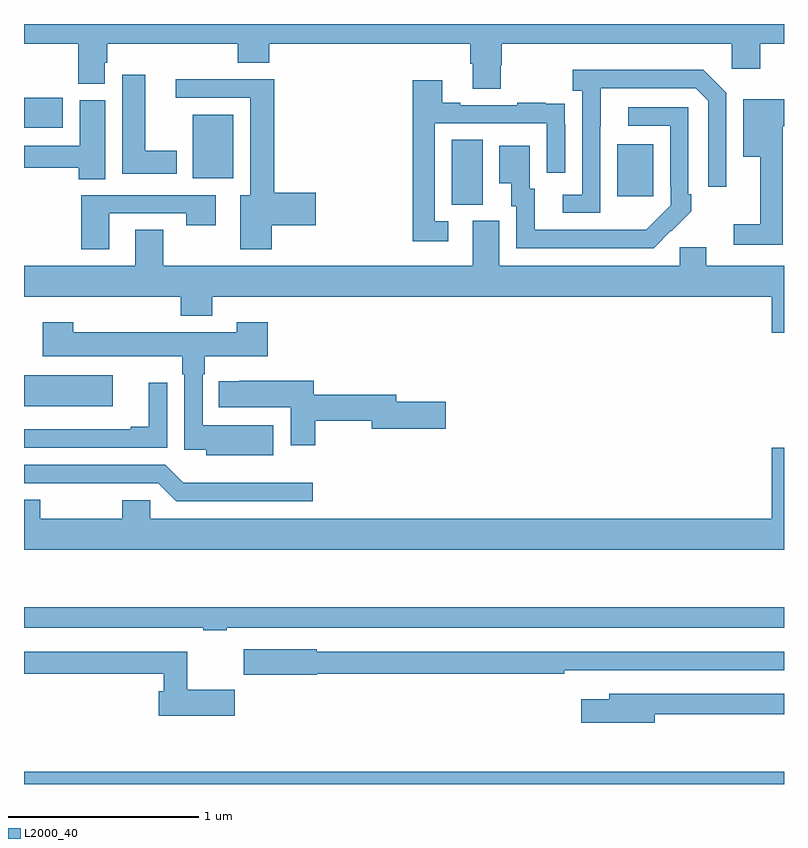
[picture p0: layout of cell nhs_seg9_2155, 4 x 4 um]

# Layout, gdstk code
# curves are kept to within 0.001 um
import gdstk
lib = gdstk.Library(unit=1e-6, precision=1e-09)
def R(c, l, rs):  # rectangles x0, y0, x1, y1
    for r in rs: c.add(gdstk.rectangle(r[:2], r[2:], *l))
def P(c, l, *ps):  # polygons
    for p in ps: c.add(gdstk.Polygon(p, *l))
L2000_40 = (2000, 40)

nhs_seg9_2155 = lib.new_cell('nhs_seg9_2155')
R(nhs_seg9_2155, L2000_40, [(233,1216.5,237,1216.564), (233.001,1218.488,233.467,1218.652), (235.25,1219.549,235.414,1219.892), (236.123,1219.593,236.311,1219.867), (233.888,1219.688,234.1,1220.023), (233,1219.955,233.203,1220.113)])
P(nhs_seg9_2155, L2000_40, [(235.509,1220.283),(235.514,1220.283),(235.514,1220.396),(236.724,1220.396),(236.724,1220.265),(236.876,1220.265),(236.876,1220.396),(237,1220.396),(237,1220.5),(233,1220.5),(233,1220.396),(233.285,1220.396),(233.285,1220.185),(233.425,1220.185),(233.425,1220.295),(233.438,1220.295),(233.438,1220.396),(234.125,1220.396),(234.125,1220.297),(234.29,1220.297),(234.29,1220.396),(235.349,1220.396),(235.349,1220.29),(235.361,1220.29),(235.361,1220.158),(235.509,1220.158)],
  [(236.034,1219.963),(236.035,1220.163),(236.535,1220.163),(236.601,1220.097),(236.601,1219.644),(236.697,1219.644),(236.697,1220.139),(236.576,1220.26),(235.887,1220.26),(235.887,1220.15),(235.938,1220.15),(235.938,1219.602),(235.836,1219.602),(235.836,1219.506),(236.034,1219.506)],
  [(233.803,1219.834),(233.638,1219.834),(233.638,1220.233),(233.516,1220.233),(233.516,1219.712),(233.803,1219.712)],
  [(234.304,1219.442),(234.535,1219.442),(234.535,1219.613),(234.317,1219.613),(234.317,1220.21),(233.799,1220.21),(233.799,1220.112),(234.191,1220.112),(234.191,1219.6),(234.137,1219.6),(234.137,1219.314),(234.304,1219.314)],
  [(235.234,1219.461),(235.161,1219.461),(235.161,1219.977),(235.752,1219.977),(235.752,1219.716),(235.848,1219.716),(235.848,1219.97),(235.847,1219.97),(235.847,1220.079),(235.745,1220.079),(235.745,1220.086),(235.597,1220.086),(235.597,1220.073),(235.297,1220.073),(235.297,1220.086),(235.201,1220.086),(235.201,1220.203),(235.045,1220.203),(235.045,1219.356),(235.234,1219.356)],
  [(236.993,1219.961),(237,1219.961),(237,1220.103),(236.786,1220.103),(236.786,1219.802),(236.876,1219.802),(236.876,1219.447),(236.736,1219.447),(236.736,1219.338),(236.993,1219.338)],
  [(233.428,1220.1),(233.294,1220.1),(233.294,1219.86),(233,1219.86),(233,1219.744),(233.287,1219.744),(233.287,1219.684),(233.428,1219.684)],
  [(236.405,1219.411),(236.406,1219.41),(236.511,1219.515),(236.511,1219.603),(236.496,1219.603),(236.496,1220.061),(236.181,1220.061),(236.181,1219.965),(236.4,1219.965),(236.4,1219.645),(236.403,1219.645),(236.403,1219.545),(236.275,1219.417),(235.687,1219.416),(235.687,1219.632),(235.663,1219.632),(235.663,1219.858),(235.502,1219.858),(235.502,1219.661),(235.565,1219.661),(235.565,1219.542),(235.59,1219.542),(235.59,1219.32),(236.314,1219.32)],
  [(233.449,1219.503),(233.854,1219.503),(233.854,1219.44),(234.01,1219.44),(234.01,1219.599),(233.302,1219.599),(233.302,1219.314),(233.449,1219.314)],
  [(237,1219.228),(236.59,1219.228),(236.59,1219.326),(236.451,1219.326),(236.451,1219.228),(235.501,1219.228),(235.501,1219.464),(235.361,1219.464),(235.361,1219.228),(233.733,1219.228),(233.733,1219.418),(233.585,1219.418),(233.585,1219.228),(233,1219.228),(233,1219.064),(233.825,1219.064),(233.825,1218.965),(233.99,1218.965),(233.99,1219.064),(236.936,1219.064),(236.936,1218.876),(237,1218.876)],
  [(234.313,1218.388),(233.94,1218.388),(233.94,1218.656),(233.952,1218.656),(233.952,1218.752),(234.284,1218.752),(234.284,1218.931),(234.119,1218.931),(234.119,1218.877),(233.258,1218.877),(233.258,1218.931),(233.098,1218.931),(233.098,1218.752),(233.832,1218.752),(233.832,1218.656),(233.844,1218.656),(233.844,1218.26),(233.96,1218.26),(233.96,1218.23),(234.313,1218.23)],
  [(234.534,1218.412),(234.83,1218.412),(234.83,1218.37),(235.219,1218.37),(235.219,1218.512),(234.958,1218.512),(234.958,1218.548),(234.526,1218.548),(234.526,1218.622),(234.133,1218.622),(234.133,1218.621),(234.025,1218.621),(234.025,1218.482),(234.404,1218.482),(234.404,1218.282),(234.534,1218.282)],
  [(233.754,1218.613),(233.657,1218.613),(233.657,1218.379),(233.561,1218.379),(233.561,1218.366),(233,1218.366),(233,1218.27),(233.754,1218.27)],
  [(237,1218.271),(236.936,1218.271),(236.936,1217.896),(233.664,1217.896),(233.664,1217.994),(233.518,1217.994),(233.518,1217.896),(233.085,1217.896),(233.085,1217.995),(233,1217.995),(233,1217.732),(237,1217.732)],
  [(234.52,1218.085),(233.838,1218.085),(233.743,1218.18),(233,1218.18),(233,1218.084),(233.173,1218.084),(233.173,1218.083),(233.429,1218.083),(233.429,1218.084),(233.706,1218.084),(233.802,1217.988),(234.52,1217.988)],
  [(234.068,1217.322),(237,1217.322),(237,1217.431),(233,1217.431),(233,1217.322),(233.944,1217.322),(233.944,1217.31),(234.068,1217.31)],
  [(234.54,1217.08),(235.844,1217.08),(235.844,1217.1),(237,1217.1),(237,1217.196),(234.54,1217.196),(234.54,1217.209),(234.156,1217.209),(234.156,1217.075),(234.54,1217.075)],
  [(234.109,1216.995),(233.86,1216.995),(233.86,1217.196),(233,1217.196),(233,1217.08),(233.735,1217.08),(233.735,1216.987),(233.708,1216.987),(233.708,1216.858),(234.109,1216.858)],
  [(236.32,1216.866),(237,1216.866),(237,1216.974),(236.081,1216.974),(236.081,1216.945),(235.932,1216.945),(235.932,1216.823),(236.32,1216.823)])

lib.write_gds('nhs_seg9_2155.gds')
